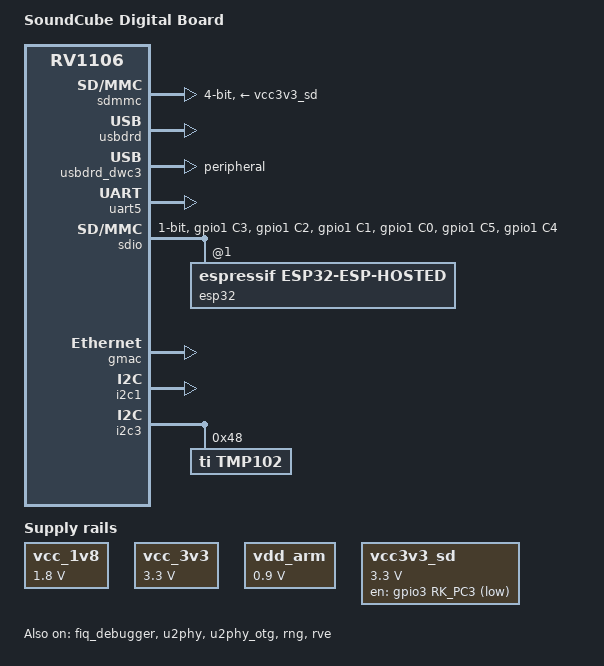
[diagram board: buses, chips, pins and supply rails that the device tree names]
// SPDX-License-Identifier: (GPL-2.0+ OR MIT)
/*
 * Copyright (c) 2022 Rockchip Electronics Co., Ltd.
 */

/dts-v1/;

#include "rv1106g3.dtsi"
#include "rv1106-pinctrl.dtsi"

/ {
        model = "SoundCube Digital Board";
        compatible = "soundcube,RV1106-dboard", "rockchip,rv1106";

        chosen {
		bootargs = "earlycon=uart8250,mmio32,0xff4c0000 console=ttyFIQ0 rootwait coherent_pool=0";
	};


	vcc_1v8: vcc-1v8 {
		compatible = "regulator-fixed";
		regulator-name = "vcc_1v8";
		regulator-always-on;
		regulator-boot-on;
		regulator-min-microvolt = <1800000>;
		regulator-max-microvolt = <1800000>;
	};

	vcc_3v3: vcc-3v3 {
		compatible = "regulator-fixed";
		regulator-name = "vcc_3v3";
		regulator-always-on;
		regulator-boot-on;
		regulator-min-microvolt = <3300000>;
		regulator-max-microvolt = <3300000>;
	};

	vdd_arm: vdd-arm {
		compatible = "regulator-fixed";
		regulator-name = "vdd_arm";
		regulator-always-on;
		regulator-boot-on;
		regulator-min-microvolt = <900000>;
		regulator-max-microvolt = <900000>;
	};

	vcc3v3_sd: vcc3v3-sd {
			compatible = "regulator-fixed";
			gpio = <&gpio3 RK_PC3 GPIO_ACTIVE_LOW>;
			regulator-name = "vcc3v3_sd";
			regulator-min-microvolt = <3300000>;
			regulator-max-microvolt = <3300000>;
			pinctrl-names = "default";
			pinctrl-0 = <&sdmmc_pwren>;
	};

	restart-poweroff {
		compatible = "restart-poweroff";
	};
};

&cpu0 {
	cpu-supply = <&vdd_arm>;
};

&fiq_debugger {
	rockchip,irq-mode-enable = <1>;
	status = "okay";
};

&pinctrl {
	sdmmc {
		/omit-if-no-ref/
		sdmmc_pwren: sdmmc-pwren {
				rockchip,pins = <3 RK_PC3 RK_FUNC_GPIO &pcfg_pull_none>;
		};
	};
	sdmmc1 {
		/omit-if-no-ref/
		sdmmc1m1_bus4: sdmmc1m1-bus4 {
			rockchip,pins =
				/* sdmmc1_d0_m1 */
				<1 RK_PC1 5 &pcfg_pull_up_drv_level_5>,
				/* sdmmc1_d1_m1 */
				<1 RK_PC0 5 &pcfg_pull_up_drv_level_5>,
				/* sdmmc1_d2_m1 */
				<1 RK_PC5 5 &pcfg_pull_up_drv_level_5>,
				/* sdmmc1_d3_m1 */
				<1 RK_PC4 5 &pcfg_pull_up_drv_level_5>;
		};

		/omit-if-no-ref/
		sdmmc1m1_clk: sdmmc1m1-clk {
			rockchip,pins =
				/* sdmmc1_clk_m1 */
				<1 RK_PC2 5 &pcfg_pull_up_drv_level_5>;
		};

		/omit-if-no-ref/
		sdmmc1m1_cmd: sdmmc1m1-cmd {
			rockchip,pins =
				/* sdmmc1_cmd_m1 */
				<1 RK_PC3 5 &pcfg_pull_up_drv_level_5>;
		};

	};
};

&sdmmc {
	max-frequency = <50000000>;
	no-sdio;
	no-mmc;
	bus-width = <4>;
	cap-mmc-highspeed;
	cap-sd-highspeed;
	disable-wp;
	pinctrl-names = "normal", "idle";
	pinctrl-0 = <&sdmmc0_clk &sdmmc0_cmd &sdmmc0_det &sdmmc0_bus4>;
	pinctrl-1 = <&sdmmc0_idle_pins &sdmmc0_det>;
	vmmc-supply = <&vcc3v3_sd>;
	status = "okay";
};

&u2phy {
	status = "okay";
};

&u2phy_otg {
	rockchip,dis-u2-susphy;
	status = "okay";
};

&usbdrd {
	status = "okay";
};

&usbdrd_dwc3 {
        extcon = <&u2phy>;
	status = "okay";
	dr_mode = "peripheral";
};

&uart5 {
        status = "okay";
        pinctrl-names = "default";
        pinctrl-0 = <&uart5m2_xfer>;
        dma-names = "tx", "rx";
};

&sdio {
	status = "okay";
	bus-width = <1>;
	num-slots = <1>;
	clock-frequency = <50000000>;
	clock-freq-min-max = <200000 50000000>;
	supports-highspeed;
	supports-sdio;
	broken-cd;
	disable-wp;

	pinctrl-names = "default", "idle";
	pinctrl-0 = <&sdmmc1m1_cmd &sdmmc1m1_clk &sdmmc1m1_bus4>;
	pinctrl-1 = <&sdmmc1m1_idle_pins>;

	#address-cells = <1>;
	#size-cells = <0>;

	esp32@1 {
			reg = <1>;
			compatible = "espressif,esp32-esp-hosted";
	};
};

&rng {
	status = "okay";
};

&rve {
	status = "okay";
};

&rmii_phy {
	bgs,increment = <0>;
};

&gmac {
        status = "okay";
};

&i2c1 {
	status = "okay";
	pinctrl-names = "default";
	pinctrl-0 = <&i2c1m1_xfer>;
};

&i2c3 {
	status = "okay";
	pinctrl-names = "default";
	pinctrl-0 = <&i2c3m1_xfer>;
        tmp102: temperature-sensor@48 {
                compatible = "ti,tmp102";
                reg = <0x48>;
        };
};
